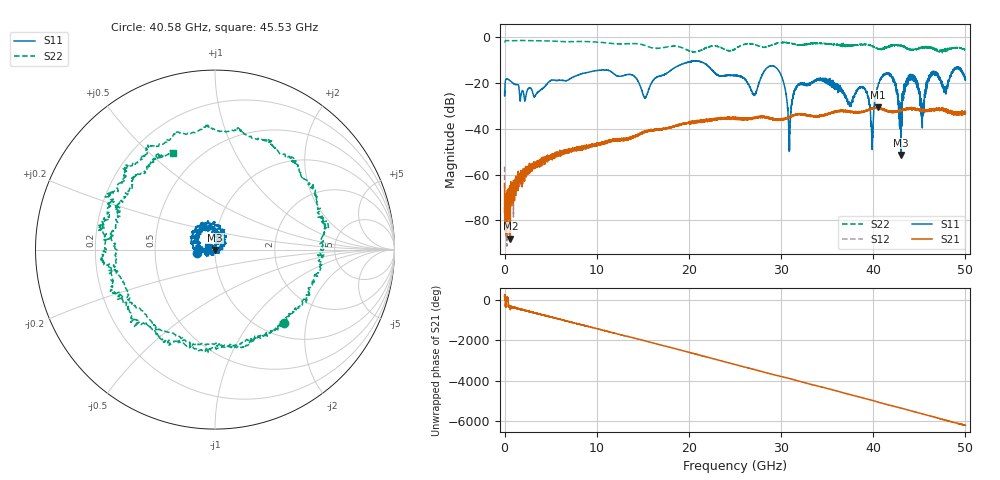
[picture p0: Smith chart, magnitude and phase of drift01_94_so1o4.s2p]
!Created with skrf (http://scikit-rf.org).
# Hz S RI R 50.0
!freq ReS11 ImS11 ReS21 ImS21 ReS12 ImS12 ReS22 ImS22
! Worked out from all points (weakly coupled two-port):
!   10001 points, 300 kHz to 50 GHz, reference 50 ohm
!   highest |S21| = -30.60 dB at 40.55 GHz (marker M1); lowest = -88.0 dB at 620.3 MHz (marker M2)
!   lowest |S11| = -51.4 dB at 43.02 GHz (marker M3), VSWR 1.01, Z = 50 - j0.267 ohm
!   |S11| at or under -10 dB: start of sweep to end of sweep
!   |S22| runs from -6.7 to -1.4 dB; largest |S21 - S12| = 0.004
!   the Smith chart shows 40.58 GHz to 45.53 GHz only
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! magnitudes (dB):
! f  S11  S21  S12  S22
! 300 kHz  -23.5  -63.9  -56.5  -2.1
! 620.3 MHz  -19.1  -88.0  -64.8  -1.5
! 8.335 GHz  -16.0  -48.6  -48.0  -1.8
! 13.78 GHz  -16.3  -44.1  -43.9  -2.7
! 15.24 GHz  -26.4  -41.2  -41.4  -3.6
! 16.67 GHz  -17.1  -40.2  -40.3  -4.8
! 25 GHz  -16.7  -35.5  -35.5  -5.1
! 27.1 GHz  -25.2  -35.3  -35.1  -3.1
! 29.44 GHz  -13.1  -36.0  -36.1  -2.7
! 30.91 GHz  -49.3  -34.7  -34.7  -2.6
! 31.66 GHz  -21.7  -33.6  -33.8  -3.1
! 33.34 GHz  -19.8  -34.3  -34.1  -2.6
! 37.5 GHz  -29.1  -32.7  -32.5  -3.7
! 38.92 GHz  -22.1  -32.6  -32.8  -3.0
! 39.88 GHz  -46.8  -31.2  -31.2  -3.8
! 40.55 GHz  -20.5  -30.6  -30.8  -5.1
! 41.67 GHz  -16.0  -32.3  -32.4  -4.4
! 43.02 GHz  -51.4  -31.9  -31.9  -3.5
! 44.07 GHz  -16.3  -30.9  -31.2  -5.3
! 45.31 GHz  -36.9  -31.7  -31.8  -4.4
! 46.41 GHz  -15.1  -31.7  -31.6  -4.7
! 50 GHz  -18.1  -32.6  -33.0  -5.4
